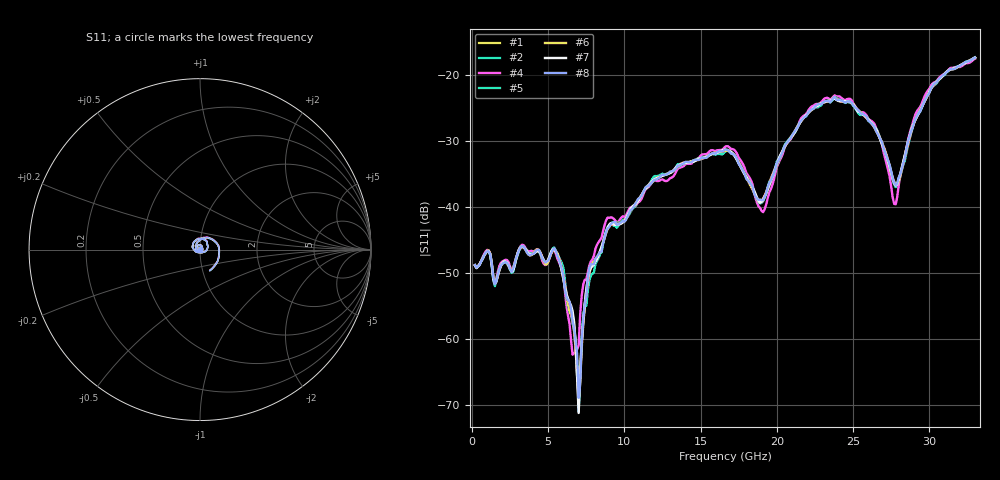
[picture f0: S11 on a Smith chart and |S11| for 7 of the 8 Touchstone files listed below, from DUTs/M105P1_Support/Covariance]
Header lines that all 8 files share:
# GHZ S RI R 50
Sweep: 200 MHz to 33 GHz
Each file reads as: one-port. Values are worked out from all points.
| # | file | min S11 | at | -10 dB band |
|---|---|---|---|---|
| 1 | M105P1_5.s2p | -69.1 dB | 7 GHz | over 32.8 GHz wide |
| 2 | M105P1_8.s2p | -71.0 dB | 7 GHz | over 32.8 GHz wide |
| 3 | M105P1_9.s2p | -71.0 dB | 7 GHz | over 32.8 GHz wide |
| 4 | M105P1_10.s2p | -62.3 dB | 6.6 GHz | over 32.8 GHz wide |
| 5 | M105P1_11.s2p | -68.8 dB | 7 GHz | over 32.8 GHz wide |
| 6 | M105P1_12.s2p | -67.9 dB | 7 GHz | over 32.8 GHz wide |
| 7 | M105P1_13.s2p | -71.2 dB | 7 GHz | over 32.8 GHz wide |
| 8 | M105P1_14.s2p | -68.9 dB | 7 GHz | over 32.8 GHz wide |
